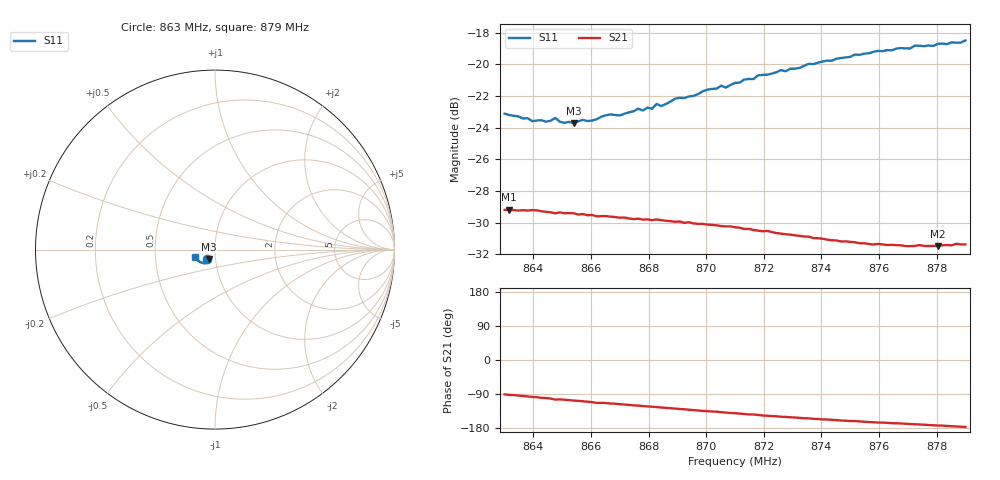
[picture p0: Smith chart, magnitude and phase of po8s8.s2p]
# HZ S RI R 50
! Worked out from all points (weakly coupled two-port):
!   101 points, 863 MHz to 879 MHz, reference 50 ohm
!   highest |S21| = -29.19 dB at 863.16 MHz (marker M1); lowest = -31.5 dB at 878.04 MHz (marker M2)
!   lowest |S11| = -23.7 dB at 865.4 MHz (marker M3), VSWR 1.14, Z = 46.4 - j5.13 ohm
!   |S11| at or under -10 dB: start of sweep to end of sweep
!   S12 and S22 are empty: the file has one direction only
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8.63e8  -0.0447 -0.0537  -0.000441 -0.0347  0 0  0 0
8.6316e8  -0.0437 -0.0536  -0.0012 -0.0347  0 0  0 0
8.6396e8  -0.0395 -0.053  -0.00446 -0.0343  0 0  0 0
8.6444e8  -0.0379 -0.0538  -0.00615 -0.0336  0 0  0 0
8.6476e8  -0.0388 -0.0555  -0.00841 -0.0327  0 0  0 0
8.6492e8  -0.0365 -0.0548  -0.00815 -0.0331  0 0  0 0
8.654e8  -0.0348 -0.0551  -0.00996 -0.0323  0 0  0 0
8.6572e8  -0.0347 -0.057  -0.0109 -0.0318  0 0  0 0
8.6764e8  -0.036 -0.0629  -0.0164 -0.0281  0 0  0 0
8.6812e8  -0.0346 -0.0636  -0.0177 -0.0269  0 0  0 0
8.6828e8  -0.0356 -0.066  -0.0182 -0.0267  0 0  0 0
8.6844e8  -0.0358 -0.0646  -0.0186 -0.0262  0 0  0 0
8.6892e8  -0.0375 -0.0683  -0.0197 -0.025  0 0  0 0
8.6956e8  -0.0405 -0.0684  -0.0211 -0.0233  0 0  0 0
8.7052e8  -0.0448 -0.073  -0.0228 -0.0207  0 0  0 0
8.7068e8  -0.0449 -0.0715  -0.0231 -0.0203  0 0  0 0
8.71e8  -0.0471 -0.0735  -0.0235 -0.0195  0 0  0 0
8.7372e8  -0.0663 -0.075  -0.0256 -0.0119  0 0  0 0
8.7516e8  -0.0814 -0.07  -0.0259 -0.00888  0 0  0 0
8.7644e8  -0.0918 -0.0619  -0.0262 -0.00618  0 0  0 0
8.7804e8  -0.1046 -0.0503  -0.0264 -0.00328  0 0  0 0
8.79e8  -0.112 -0.0401  -0.0269 -0.00151  0 0  0 0
